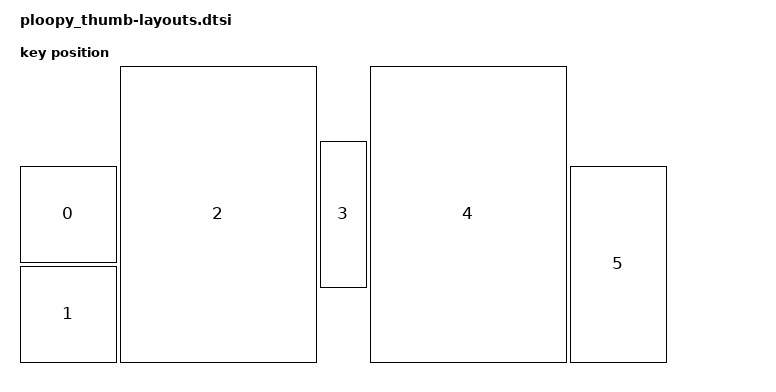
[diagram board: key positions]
#include <physical_layouts.dtsi>

/ {
    physical_layout0: physical_layout_0 {
        compatible = "zmk,physical-layout";
        display-name = "Default Layout";

        keys  //                     w   h    x    y     rot    rx    ry
            = <&key_physical_attrs 200 200    0  200       0     0     0>
            , <&key_physical_attrs 200 200    0  400       0     0     0>
            , <&key_physical_attrs 400 600  200    0       0     0     0>
            , <&key_physical_attrs 100 300  600  150       0     0     0>
            , <&key_physical_attrs 400 600  700    0       0     0     0>
            , <&key_physical_attrs 200 400 1100  200       0     0     0>
            ;
    };
};
